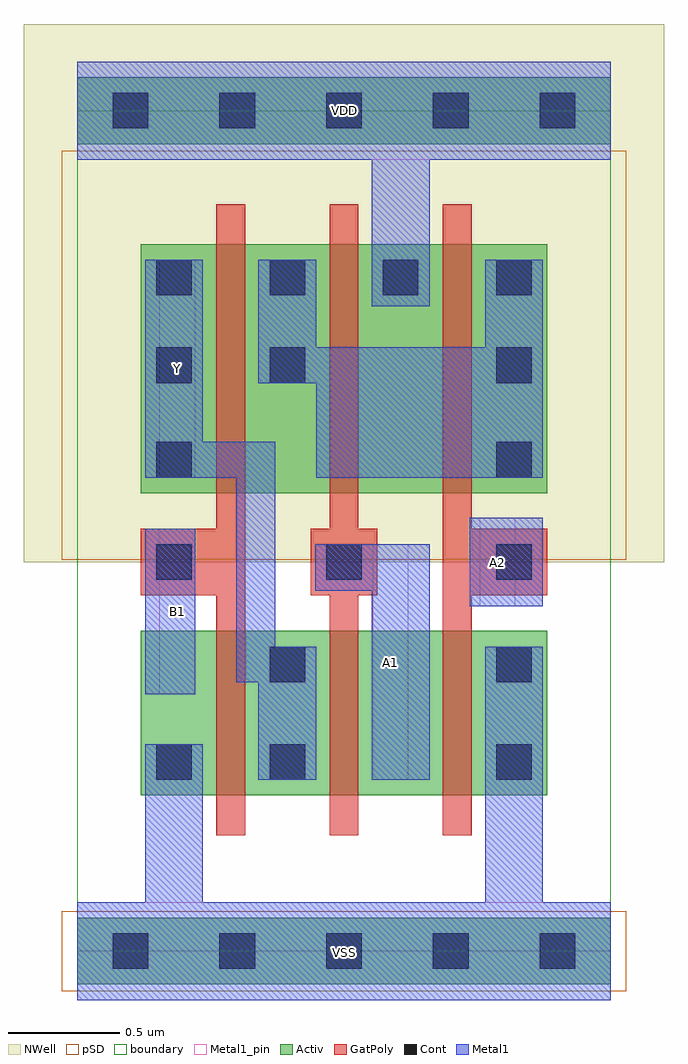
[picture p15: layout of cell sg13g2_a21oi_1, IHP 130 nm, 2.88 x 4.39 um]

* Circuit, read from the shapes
.subckt sg13g2_a21oi_1 A1 A2 B1 VDD VSS Y
XM1 Y B1 VSS VSS sg13_lv_nmos w=0.74u l=0.13u
XM2 n1 A1 Y VSS sg13_lv_nmos w=0.74u l=0.13u
XM3 VSS A2 n1 VSS sg13_lv_nmos w=0.74u l=0.13u
XM4 n2 B1 Y VDD sg13_lv_pmos w=1.12u l=0.13u
XM5 VDD A1 n2 VDD sg13_lv_pmos w=1.12u l=0.13u
XM6 n2 A2 VDD VDD sg13_lv_pmos w=1.12u l=0.13u
.ends

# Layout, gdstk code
import gdstk
lib = gdstk.Library(unit=1e-6, precision=1e-09)
def R(c, l, rs):  # rectangles x0, y0, x1, y1
    for r in rs: c.add(gdstk.rectangle(r[:2], r[2:], *l))
def A(c, l, x, y, w, h, nx, ny, dx, dy):  # array of equal rectangles
    R(c, l, [(x+i*dx, y+j*dy, x+i*dx+w, y+j*dy+h) for i in range(nx) for j in range(ny)])
def P(c, l, *ps):  # polygons
    for p in ps: c.add(gdstk.Polygon(p, *l))
Activ = (1, 0)
GatPoly = (5, 0)
Cont = (6, 0)
Metal1 = (8, 0)
Metal1_pin = (8, 2)
pSD = (14, 0)
NWell = (31, 0)
boundary = (189, 4)

sg13g2_a21oi_1 = lib.new_cell('sg13g2_a21oi_1')
R(sg13g2_a21oi_1, Activ, [(0,-0.15,2.4,0.15), (0.285,0.7,2.115,1.44), (0.285,2.06,2.115,3.18), (0,3.63,2.4,3.93)])
P(sg13g2_a21oi_1, GatPoly, [(2.115,1.9),(1.775,1.9),(1.775,3.36),(1.645,3.36),(1.645,0.52),(1.775,0.52),(1.775,1.6),(2.115,1.6)],
  [(1.35,1.9),(1.265,1.9),(1.265,3.36),(1.135,3.36),(1.135,1.9),(1.05,1.9),(1.05,1.6),(1.135,1.6),(1.135,0.52),(1.265,0.52),(1.265,1.6),(1.35,1.6)],
  [(0.755,3.36),(0.625,3.36),(0.625,1.9),(0.285,1.9),(0.285,1.6),(0.625,1.6),(0.625,0.52),(0.755,0.52)])
A(sg13g2_a21oi_1, Cont, 0.16, -0.08, 0.16, 0.16, 5, 2, 0.48, 3.78)
A(sg13g2_a21oi_1, Cont, 0.355, 1.67, 0.16, 0.16, 3, 1, 0.765, 0)
A(sg13g2_a21oi_1, Cont, 0.355, 2.95, 0.16, 0.16, 4, 1, 0.51, 0)
R(sg13g2_a21oi_1, Cont, [(0.355,0.77,0.515,0.93), (0.865,0.77,1.025,0.93), (1.885,0.77,2.045,0.93), (0.865,1.21,1.025,1.37), (1.885,1.21,2.045,1.37), (0.355,2.13,0.515,2.29), (1.885,2.13,2.045,2.29), (0.355,2.555,0.515,2.715), (0.865,2.555,1.025,2.715), (1.885,2.555,2.045,2.715)])
R(sg13g2_a21oi_1, Metal1, [(0.305,1.155,0.53,1.9), (1.765,1.55,2.095,1.95)])
P(sg13g2_a21oi_1, Metal1, [(2.095,3.11),(1.835,3.11),(1.835,2.715),(1.075,2.715),(1.075,3.11),(0.815,3.11),(0.815,2.555),(1.075,2.555),(1.075,2.13),(2.095,2.13)],
  [(1.585,1.83),(1.07,1.83),(1.07,1.62),(1.325,1.62),(1.325,0.77),(1.585,0.77)],
  [(2.4,4),(0,4),(0,3.56),(1.325,3.56),(1.325,2.9),(1.585,2.9),(1.585,3.56),(2.4,3.56)],
  [(2.4,0.22),(2.095,0.22),(2.095,1.37),(1.835,1.37),(1.835,0.22),(0.565,0.22),(0.565,0.93),(0.305,0.93),(0.305,0.22),(0,0.22),(0,-0.22),(2.4,-0.22)],
  [(1.075,1.37),(0.89,1.37),(0.89,2.29),(0.565,2.29),(0.565,3.11),(0.305,3.11),(0.305,2.13),(0.715,2.13),(0.715,1.21),(0.815,1.21),(0.815,0.77),(1.075,0.77)])
R(sg13g2_a21oi_1, Metal1_pin, [(0,-0.22,2.4,0.22), (1.33,0.77,1.49,1.83), (0.37,1.155,0.53,1.9), (1.81,1.55,1.97,1.95), (0.37,2.13,0.53,3.11), (0,3.56,2.4,4)])
R(sg13g2_a21oi_1, pSD, [(-0.07,-0.18,2.47,0.18), (-0.07,1.76,2.47,3.6)])
R(sg13g2_a21oi_1, NWell, [(-0.24,1.75,2.64,4.17)])
R(sg13g2_a21oi_1, boundary, [(0,0,2.4,3.78)])
sg13g2_a21oi_1.add(gdstk.Label('VDD', (1.2,3.78), layer=8, texttype=25))
sg13g2_a21oi_1.add(gdstk.Label('VSS', (1.2,-0.005), layer=8, texttype=25))
sg13g2_a21oi_1.add(gdstk.Label('A2', (1.89,1.75), layer=8, texttype=25))
sg13g2_a21oi_1.add(gdstk.Label('A1', (1.41,1.3), layer=8, texttype=25))
sg13g2_a21oi_1.add(gdstk.Label('B1', (0.45,1.527), layer=8, texttype=25))
sg13g2_a21oi_1.add(gdstk.Label('Y', (0.45,2.62), layer=8, texttype=25))

lib.write_gds('sg13g2_a21oi_1.gds')
